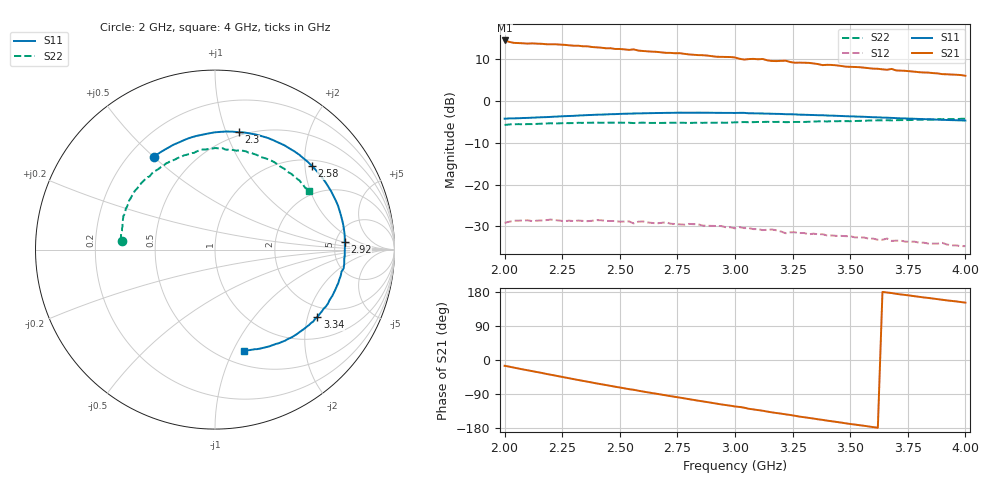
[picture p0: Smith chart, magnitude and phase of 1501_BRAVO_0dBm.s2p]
! Create 01-Jun-2022 12:40:17
! 2-port S-parameter file, 101 frequency points
# Hz S RI R 50
!freq  ReS11  ImS11  ReS21  ImS21  ReS12  ImS12  ReS22  ImS22
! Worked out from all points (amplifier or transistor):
!   101 points, 2 GHz to 4 GHz, reference 50 ohm
!   highest |S21| = 14.5 dB at 2 GHz (marker M1)
!   |S21| within 3 dB of that: start of sweep to 2.726 GHz
!   unconditionally stable (mu >= 1): start of sweep to 2.148 GHz; 2.649 GHz to 2.689 GHz; 2.705 GHz to end of sweep
!   at 2.32 GHz: K = 0.91, MSG = 20.9 dB, |S12| = -28.6 dB
!   at 3 GHz: K = 1.39, MAG = 16.7 dB, |S12| = -30.5 dB
!   at 4 GHz: K = 5.32, MAG = 10.2 dB, |S12| = -34.7 dB
!   S11 on the Smith chart (normalised r, x): 2 GHz: 0.30, +0.50; 2.3 GHz: 0.47, +1.11; 2.58 GHz: 1.15, +2.17; 2.92 GHz: 6.05, +1.09; 3.34 GHz: 1.65, -2.31; 4 GHz: 0.65, -1.11
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2e9  -0.34 0.515  5.137 -1.408  0.001 -0.035  -0.517 0.048
2.04e9  -0.293 0.549  4.683 -1.707  -0.002 -0.037  -0.524 0.073
2.12e9  -0.168 0.612  4.283 -2.413  -0.007 -0.036  -0.515 0.13
2.22e9  -0.004 0.653  3.612 -3.155  -0.014 -0.035  -0.503 0.198
2.3e9  0.132 0.654  2.931 -3.559  -0.018 -0.032  -0.483 0.256
2.34e9  0.2 0.646  2.6 -3.717  -0.02 -0.031  -0.471 0.284
2.46e9  0.387 0.581  1.59 -3.995  -0.026 -0.026  -0.417 0.363
2.56e9  0.52 0.486  0.825 -4.084  -0.028 -0.02  -0.365 0.407
2.58e9  0.54 0.466  0.633 -3.983  -0.03 -0.02  -0.353 0.422
2.68e9  0.631 0.351  -0.079 -3.835  -0.032 -0.014  -0.291 0.465
2.76e9  0.685 0.246  -0.598 -3.702  -0.032 -0.01  -0.251 0.492
2.92e9  0.723 0.043  -1.447 -3.076  -0.032 -0.002  -0.141 0.534
3e9  0.72 -0.054  -1.796 -2.806  -0.03 0.001  -0.098 0.549
3.04e9  0.717 -0.104  -1.84 -2.551  -0.03 0.004  -0.068 0.558
3.08e9  0.701 -0.144  -2.079 -2.44  -0.029 0.005  -0.043 0.559
3.16e9  0.671 -0.222  -2.254 -2.019  -0.028 0.008  0.018 0.564
3.22e9  0.638 -0.282  -2.452 -1.815  -0.025 0.008  0.058 0.557
3.34e9  0.571 -0.374  -2.552 -1.22  -0.023 0.012  0.142 0.553
3.48e9  0.482 -0.452  -2.523 -0.581  -0.019 0.015  0.245 0.522
3.68e9  0.354 -0.522  -2.426 0.14  -0.014 0.016  0.363 0.463
3.82e9  0.266 -0.548  -2.128 0.569  -0.011 0.017  0.44 0.409
4e9  0.163 -0.563  -1.766 0.966  -0.007 0.017  0.522 0.325
